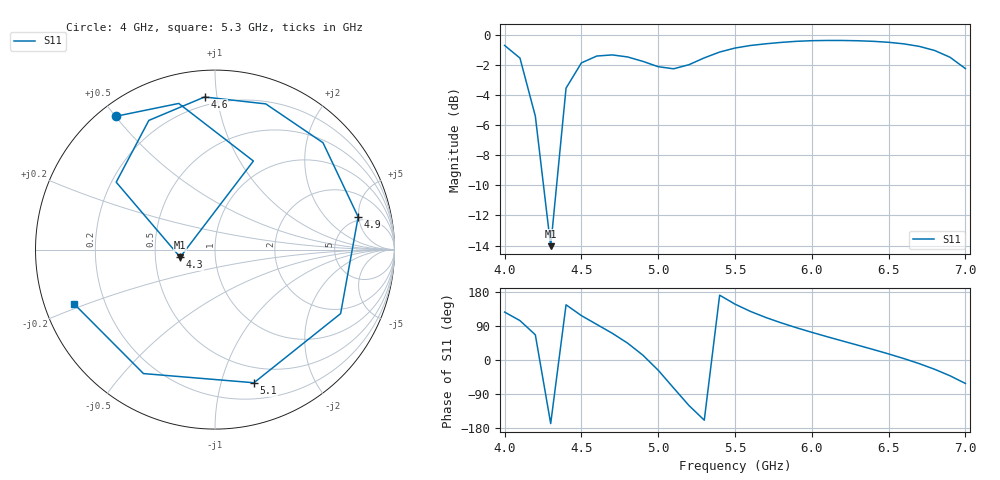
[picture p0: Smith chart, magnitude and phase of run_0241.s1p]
! Touchstone file exported from HFSS 2024.2.0
!  File:  C:/Users/wsak9/Desktop/Sim Fast/Widenad Patch/WP_AI_V1_sweep.aedt
!  Generated:  01:06:54 AM Oct 14, 2026
!  Design:  A1_model
!  Project:  WP_AI_V1_sweep
!  Setup:  Setup1
!  Solution:  Sweep
! Variables:
!  Air_gap = 3.23mm
!  Curve_Amp1 = 2.66
!  Curve_len1 = 1
!  Curve_pos = 13.04mm
!  Extra = 4.27mm
!  H_sub = 0.79mm
!  L_Patch = 22.08mm
!  L_Patch1 = 14.42mm
!  Sx = 3.66mm
!  Sy = 3.13mm
!  WS = 0.42mm
!  W_Patch = 15.81mm
!  W_Patch1 = 10.15mm
!Data is not renormalized
# GHz S MA
! Terminal data exported
! Port[1] = 1
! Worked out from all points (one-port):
!   31 points, 4 GHz to 7 GHz, reference per port
!   lowest |S11| = -14.0 dB at 4.3 GHz (marker M1), VSWR 1.50
!   |S11| at or under -10 dB: 4.253 GHz to 4.338 GHz (85.14 MHz wide, 1.98 % of centre)
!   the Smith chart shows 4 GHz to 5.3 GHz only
!   S11 on the Smith chart (normalised r, x): 4 GHz: 0.05, +0.50; 4.3 GHz: 0.67, -0.06; 4.6 GHz: 0.15, +0.92; 4.9 GHz: 4.46, +4.92; 5.1 GHz: 0.35, -1.28; 5.3 GHz: 0.09, -0.19
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4  0.9244 126.5
4.1  0.839 103.9
4.2  0.5378 66.6
4.3  0.1986 -167.8
4.4  0.6663 145.7
4.5  0.8087 117.1
4.6  0.8523 93.9
4.7  0.8596 70.8
4.8  0.8465 44.7
4.9  0.8182 12.9
5  0.7854 -27.0
5.1  0.773 -73.7
5.2  0.7974 -120.0
5.3  0.8404 -158.8
5.4  0.8788 171.0
5.5  0.906 147.4
5.6  0.924 128.3
5.7  0.9361 112.2
5.8  0.9461 98.1
5.9  0.9541 85.2
6.1  0.9603 61.4
6.3  0.9581 39.0
6.5  0.9469 16.0
6.6  0.9356 3.7
6.7  0.9176 -9.7
6.8  0.8893 -24.5
6.9  0.8443 -41.6
7  0.7742 -61.9
